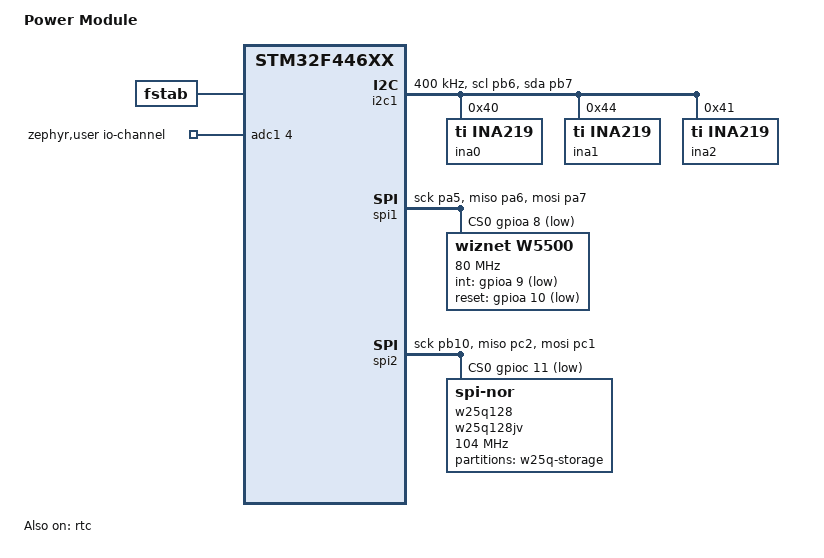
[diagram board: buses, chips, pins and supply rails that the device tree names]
/*
 * Copyright (c) 2023 Launch Initiative
 *
 * SPDX-License-Identifier: Apache-2.0
 */

/dts-v1/;
#include <st/f4/stm32f446Xe.dtsi>
#include <st/f4/stm32f446r(c-e)tx-pinctrl.dtsi>
#include <zephyr/dt-bindings/input/input-event-codes.h>

/ {
    model = "Power Module";
    compatible = "st,stm32f446xx";

    chosen {
        zephyr,sram = &sram0;
        zephyr,flash = &flash0;

        storage = &w25q128;
        logfs = &lfs1;
    };

    aliases {
        inabatt = &ina0;
        ina3v3 = &ina1;
        ina5v0 = &ina2;
        vin = &adc1;
        rtc = &rtc;
    };

    leds: leds {
        compatible = "gpio-leds";
    };

    fstab {
        compatible = "zephyr,fstab";

        lfs1: lfs1 {
            compatible = "zephyr,fstab,littlefs";
            mount-point = "/lfs";
            partition = <&external_storage_partition>;
            automount;

            read-size = <256>;
            prog-size = <256>;
            cache-size = <512>;
            lookahead-size = <128>;
            block-cycles = <(90 * 1000)>;
        };
    };

    zephyr,user {
        io-channels = <&adc1 4>;
    };
};

&clk_lsi {
    status = "okay";
};

&clk_hsi {
    clock-frequency = <DT_FREQ_M(16)>;
    status = "okay";
};

&pll {
    div-m = <8>;
    mul-n = <90>;
    div-p = <2>;
    clocks = <&clk_hsi>;
    status = "okay";
};

&rcc {
    clocks = <&pll>;
    clock-frequency = <DT_FREQ_M(45)>;
    ahb-prescaler = <2>;
    apb1-prescaler = <2>;
    apb2-prescaler = <1>;
};

/*
&adc1 {
    pinctrl-0 = <&adc1_in4_pa4>;
    pinctrl-names = "default";
    st,adc-clock-source = <SYNC>;
    st,adc-prescaler = <2>;
    status = "okay";
    #address-cells = <1>;
    #size-cells = <0>;

    channel@4 {
        reg = <4>;
        zephyr,gain = "ADC_GAIN_1";
        zephyr,reference = "ADC_REF_INTERNAL";
        zephyr,acquisition-time = <ADC_ACQ_TIME_DEFAULT>;
        zephyr,resolution = <12>;
    };
};
*/
&i2c1 {
    pinctrl-0 = <&i2c1_scl_pb6 &i2c1_sda_pb7>;
    pinctrl-names = "default";
    status = "okay";
    clock-frequency = <I2C_BITRATE_FAST>;

    ina0: ina219_battery@40 {
        status = "okay";
        compatible = "ti,ina219";
        reg = <0x40>;
        brng = <0>; // Set to 0 since we don't expect >16V
        pg = <0>; // 7.5 mV drop.
        sadc = <15>; // Shunt ADC: 12 bit - 128 sample averaging - 68.10 ms
        badc = <15>; // Bus ADC: 12 bit - 128 sample averaging - 68.10 ms
        shunt-milliohm = <5>;
        lsb-microamp = <400>;
    };

    ina1: ina219_3v3@44 {
        status = "okay";
        compatible = "ti,ina219";
        reg = <0x44>;
        brng = <0>; // Set to 0 since we don't expect >16V
        pg = <0>; // 0 mV drop
        sadc = <15>; // Shunt ADC: 12 bit - 128 sample averaging - 68.10 ms
        badc = <15>; // Bus ADC: 12 bit - 128 sample averaging - 68.10 ms
        shunt-milliohm = <5>;
        lsb-microamp = <33>;
    };

    ina2: ina219_5v0@41 {
        status = "okay";
        compatible = "ti,ina219";
        reg = <0x41>;
        brng = <0>; // Set to 0 since we don't expect >16V
        pg = <0>; // 0 mV drop
        sadc = <15>; // Shunt ADC: 12 bit - 128 sample averaging - 68.10 ms
        badc = <15>; // Bus ADC: 12 bit - 128 sample averaging - 68.10 ms
        shunt-milliohm = <5>;
        lsb-microamp = <33>;
    };
};

&spi1 {
    pinctrl-0 = <&spi1_sck_pa5 &spi1_miso_pa6 &spi1_mosi_pa7>;
    cs-gpios = <&gpioa 8 GPIO_ACTIVE_LOW>;
    pinctrl-names = "default";
    status = "okay";

    w5500: w5500@0 {
        compatible = "wiznet,w5500";
        reg = <0x0>;
        spi-max-frequency = <DT_FREQ_M(80)>;
        int-gpios = <&gpioa 9 GPIO_ACTIVE_LOW>;
        reset-gpios = <&gpioa 10 GPIO_ACTIVE_LOW>;
    };
};

&dma2 {
	status = "okay";
};

&spi2 {
    pinctrl-0 = <&spi2_sck_pb10 &spi2_miso_pc2 &spi2_mosi_pc1>;
    cs-gpios = <&gpioc 11 GPIO_ACTIVE_LOW>;
    pinctrl-names = "default";
    status = "okay";

    // dma identifier
	// dma stream
	// dma channel
	// config flags
    dmas = <&dma2 5 3
            (STM32_DMA_PERIPH_TX | STM32_DMA_PRIORITY_HIGH | STM32_DMA_OFFSET_FIXED_4 |
            STM32_DMA_PERIPH_8BITS | STM32_DMA_MEM_8BITS)
            0x3
           >,
	   <&dma2 2 3
            (STM32_DMA_PERIPH_TX | STM32_DMA_PRIORITY_HIGH | STM32_DMA_OFFSET_FIXED_4 |
            STM32_DMA_PERIPH_8BITS | STM32_DMA_MEM_8BITS)
            0x3
       >;
	dma-names = "tx", "rx";

    w25q128: w25q128jv@0 {
        compatible = "jedec,spi-nor";
        reg = <0>;

        spi-max-frequency = <DT_FREQ_M(104)>;
        size = <DT_SIZE_M(128)>;
        jedec-id = [ef 40 18];

        has-dpd;
        t-enter-dpd = <(3 * 1000)>;
        t-exit-dpd = <(3 * 1000)>;

        partitions {
            compatible = "fixed-partitions";
            #address-cells = <1>;
            #size-cells = <1>;

            external_storage_partition: partition@0 {
                label = "w25q-storage";
                reg = <0 DT_SIZE_M(16)>;
            };
        };
    };
};

&rtc {
    clocks = <&rcc STM32_CLOCK_BUS_APB1 0x10000000>,
             <&rcc STM32_SRC_LSI RTC_SEL(2)>;
    status = "okay";
};

&backup_sram {
    status = "okay";
};

&flash0 {

    partitions {
        compatible = "fixed-partitions";
        #address-cells = <1>;
        #size-cells = <1>;

        boot_partition: partition@0 {
            label = "mcuboot";
            reg = <0x00000000 DT_SIZE_K(64)>;
            read-only;
        };

        /*
         * The flash starting at 0x00010000 and ending at
         * 0x0001ffff (sectors 16-31) is reserved for use
         * by the application.
         */
        storage_partition: partition@10000 {
            label = "storage";
            reg = <0x00010000 DT_SIZE_K(64)>;
        };

        slot0_partition: partition@20000 {
            label = "image-0";
            reg = <0x00020000 DT_SIZE_K(128)>;
        };

        slot1_partition: partition@40000 {
            label = "image-1";
            reg = <0x00040000 DT_SIZE_K(128)>;
        };

        scratch_partition: partition@60000 {
            label = "image-scratch";
            reg = <0x00060000 DT_SIZE_K(128)>;
        };
    };
};
